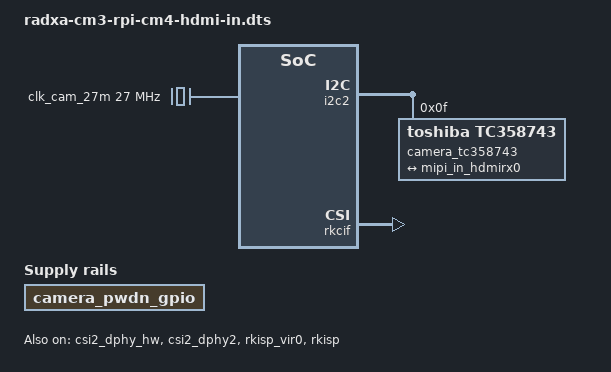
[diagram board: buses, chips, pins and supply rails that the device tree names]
/*
 * Copyright (C) 2024 Raphael from OpenHD
 *
 * This is free software: you can redistribute it and/or modify
 * it under the terms of the GNU General Public License as published by
 * the Free Software Foundation, either version 3 of the License, or
 * (at your option) any later version.
 *
 * This is distributed in the hope that it will be useful,
 * but WITHOUT ANY WARRANTY; without even the implied warranty of
 * MERCHANTABILITY or FITNESS FOR A PARTICULAR PURPOSE. See the
 * GNU General Public License for more details.
 *
 */

/dts-v1/;
/plugin/;

#include <dt-bindings/gpio/gpio.h>
#include <dt-bindings/pinctrl/rockchip.h>

/ {
	metadata {
		title = "Enable Hdmi In on CM3";
		compatible = "radxa,cm3-rpi-cm4-io";
		category = "camera";
		exclusive = "csi2_dphy2";
		description = "Enable Hdmi In on CM3";
	};

	fragment@0 {
		target-path = "/";

		__overlay__ {
			clk_cam_27m: external-camera-clock-27m {
				status = "okay";
				compatible = "fixed-clock";
				clock-frequency = <27000000>;
				clock-output-names = "clk_cam_27mhz";
				#clock-cells = <0>;
			};

			camera_pwdn_gpio: camera-pwdn-gpio {
				status = "okay";
				compatible = "regulator-fixed";
				regulator-name = "camera_pwdn_gpio";
				regulator-always-on;
				regulator-boot-on;
				enable-active-high;
				pwdn-gpios = <&gpio4 RK_PC1 GPIO_ACTIVE_HIGH>;
				pinctrl-names = "default";
				pinctrl-0 = <&cam_pwdn_gpio>;
			};
		};
	};

	fragment@1 {
		target = <&i2c2>;

		__overlay__ {
			status = "okay";
			pinctrl-names = "default";
			pinctrl-0 = <&i2c2m1_xfer>;
			#address-cells = <1>;
			#size-cells = <0>;

			camera_tc358743: tc358743@f {
				status = "okay";
				compatible = "toshiba,tc358743";
				reg = <0x0f>;
				clocks = <&clk_cam_27m>;
				clock-names = "refclk";
				rockchip,camera-module-index = <0>;
				rockchip,camera-module-facing = "back";
				rockchip,camera-module-name = "tc358743";
				rockchip,camera-module-lens-name = "default";

				port {
					hdmi_rx_out: endpoint {
						remote-endpoint = <&mipi_in_hdmirx0>;
						clock-lanes = <0>;
						clock-noncontinuous;
						link-frequencies = /bits/ 64 <297000000>;
						data-lanes = <1 2 3 4>;
					};
				};
			};
		};
	};

	fragment@2 {
		target = <&csi2_dphy_hw>;

		__overlay__ {
			status = "okay";
		};
	};

	fragment@3 {
		target = <&csi2_dphy2>;

		__overlay__ {
			status = "okay";

			ports {
				#address-cells = <1>;
				#size-cells = <0>;

				port@0 {
					reg = <0>;
					#address-cells = <1>;
					#size-cells = <0>;

					mipi_in_hdmirx0: endpoint@1 {
						reg = <1>;
						remote-endpoint = <&hdmi_rx_out>;
						data-lanes = <1 2 3 4>;
					};
				};

				port@1 {
					reg = <1>;
					#address-cells = <1>;
					#size-cells = <0>;

					mipi_out_dphy0: endpoint@1 {
						reg = <1>;
						remote-endpoint = <&rkisp_mipi_in>;
						data-lanes = <1 2 3 4>;
					};
				};
			};
		};
	};
	
	fragment@4 {
		target = <&rkisp_vir0>;

		__overlay__ {
			status = "okay";

			port {
				#address-cells = <1>;
				#size-cells = <0>;

				rkisp_mipi_in: endpoint@0 {
					reg = <0>;
					remote-endpoint = <&mipi_out_dphy0>;
				};
			};
		};
	};

	fragment@5 {
		target = <&rkisp>;

		__overlay__ {
			status = "okay";
		};
	};

	fragment@6 {
		target = <&rkisp_mmu>;

		__overlay__ {
			status = "okay";
		};
	};

	fragment@7 {
		target = <&rkcif_mmu>;

		__overlay__ {
			status = "okay";
		};
	};

	fragment@8 {
		target = <&rkcif>;

		__overlay__ {
			status = "okay";
		};
	};
};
